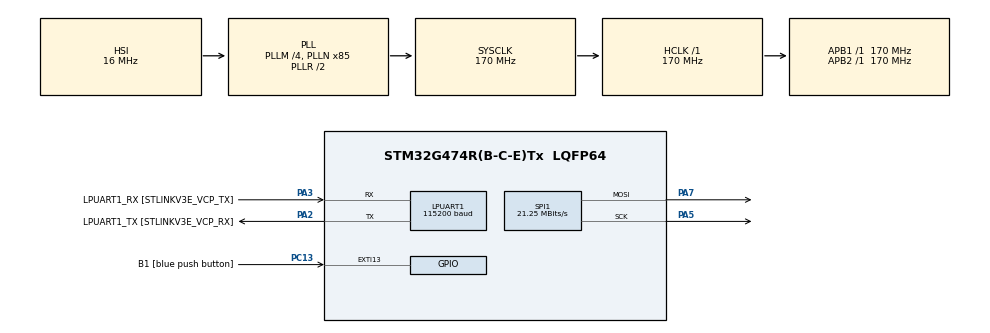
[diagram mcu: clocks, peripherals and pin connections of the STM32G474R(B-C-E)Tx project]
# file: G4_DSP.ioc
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FREERTOS.Tasks01=main,24,64,App_main,Default,NULL,Dynamic,NULL,NULL
FREERTOS.configENABLE_FPU=1
FREERTOS.configMINIMAL_STACK_SIZE=64
LPUART1.BaudRate=115200
LPUART1.WordLength=UART_WORDLENGTH_8B
Mcu.Family=STM32G4
Mcu.Name=STM32G474R(B-C-E)Tx
Mcu.Package=LQFP64
NVIC.EXTI15_10_IRQn=true\:5\:0\:false\:false\:true\:true\:true\:true\:true
NVIC.PriorityGroup=NVIC_PRIORITYGROUP_4
NVIC.TIM6_DAC_IRQn=true\:15\:0\:false\:false\:true\:false\:false\:true\:true
NVIC.TimeBase=TIM6_DAC_IRQn
NVIC.TimeBaseIP=TIM6
PA13.GPIO_Label=T_SWDIO
PA13.Mode=Serial_Wire
PA13.Signal=SYS_JTMS-SWDIO
PA14.GPIO_Label=T_SWCLK
PA14.Mode=Serial_Wire
PA14.Signal=SYS_JTCK-SWCLK
PA2.GPIO_Label=LPUART1_TX [STLINKV3E_VCP_RX]
PA2.Mode=Asynchronous
PA2.Signal=LPUART1_TX
PA3.GPIO_Label=LPUART1_RX [STLINKV3E_VCP_TX]
PA3.Mode=Asynchronous
PA3.Signal=LPUART1_RX
PA5.Mode=TX_Only_Simplex_Unidirect_Master
PA5.Signal=SPI1_SCK
PA7.Mode=TX_Only_Simplex_Unidirect_Master
PA7.Signal=SPI1_MOSI
PB3.GPIO_Label=T_SWO
PB3.Signal=SYS_JTDO-SWO
PC13.GPIO_Label=B1 [blue push button]
PC13.Signal=GPXTI13
PC14-OSC32_IN.Mode=LSE-External-Oscillator
PC14-OSC32_IN.Signal=RCC_OSC32_IN
PC15-OSC32_OUT.Mode=LSE-External-Oscillator
PC15-OSC32_OUT.Signal=RCC_OSC32_OUT
PF0-OSC_IN.Mode=HSE-External-Oscillator
PF0-OSC_IN.Signal=RCC_OSC_IN
PF1-OSC_OUT.Mode=HSE-External-Oscillator
PF1-OSC_OUT.Signal=RCC_OSC_OUT
ProjectManager.HeapSize=0x200
ProjectManager.StackSize=0x400
ProjectManager.TargetToolchain=STM32CubeIDE
RCC.ADC12Freq_Value=170000000
RCC.ADC345Freq_Value=170000000
RCC.AHBFreq_Value=170000000
RCC.APB1Freq_Value=170000000
RCC.APB1TimFreq_Value=170000000
RCC.APB2Freq_Value=170000000
RCC.APB2TimFreq_Value=170000000
RCC.CortexFreq_Value=170000000
RCC.EXTERNAL_CLOCK_VALUE=12288000
RCC.HCLKFreq_Value=170000000
RCC.HSE_VALUE=24000000
RCC.HSI48_VALUE=48000000
RCC.HSI_VALUE=16000000
RCC.PLLM=RCC_PLLM_DIV4
RCC.PLLN=85
RCC.RTCClockSelection=RCC_RTCCLKSOURCE_LSE
RCC.SYSCLKFreq_VALUE=170000000
RCC.SYSCLKSource=RCC_SYSCLKSOURCE_PLLCLK
RCC.USBFreq_Value=170000000
RCC.VCOOutputFreq_Value=340000000
SPI1.BaudRatePrescaler=SPI_BAUDRATEPRESCALER_8
SPI1.CalculateBaudRate=21.25 MBits/s
SPI1.DataSize=SPI_DATASIZE_8BIT
SPI1.Direction=SPI_DIRECTION_2LINES
SPI1.Mode=SPI_MODE_MASTER
SPI1.VirtualType=VM_MASTER
VP_FREERTOS_VS_CMSIS_V2.Mode=CMSIS_V2
VP_SYS_VS_DBSignals.Mode=DisableDeadBatterySignals
VP_SYS_VS_tim6.Mode=TIM6
board=NUCLEO-G474RE

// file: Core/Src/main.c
/* USER CODE BEGIN Header */
/**
  ******************************************************************************
  * @file           : main.c
  * @brief          : Main program body
  ******************************************************************************
  * @attention
  *
  * Copyright (c) 2024 STMicroelectronics.
  * All rights reserved.
  *
  * This software is licensed under terms that can be found in the LICENSE file
  * in the root directory of this software component.
  * If no LICENSE file comes with this software, it is provided AS-IS.
  *
  ******************************************************************************
  */
/* USER CODE END Header */
#include "main.h"
#include "cmsis_os.h"
#include "usart.h"
#include "spi.h"
#include "gpio.h"

/* USER CODE BEGIN Includes */
#include "lcd.h"

extern void FFT_GPIO_Init(void);
/* USER CODE END Includes */

void SystemClock_Config(void);
void MX_FREERTOS_Init(void);

int main(void)
{

  /* MCU Configuration--------------------------------------------------------*/

  /* Reset of all peripherals, Initializes the Flash interface and the Systick. */
  HAL_Init();

  /* Configure the system clock */
  SystemClock_Config();

  /* Initialize all configured peripherals */
  MX_GPIO_Init();
  MX_LPUART1_UART_Init();
  MX_SPI1_Init();
  /* USER CODE BEGIN 2 */
    LCD_Init(WHITE);
    FFT_GPIO_Init();

  /* USER CODE END 2 */

  /* Init scheduler */
  osKernelInitialize();

  /* Call init function for freertos objects (in freertos.c) */
  MX_FREERTOS_Init();

  /* Start scheduler */
  osKernelStart();

  /* We should never get here as control is now taken by the scheduler */
  /* Infinite loop */
  while (1)
  {

  }
}

void SystemClock_Config(void)
{
  RCC_OscInitTypeDef RCC_OscInitStruct = {0};
  RCC_ClkInitTypeDef RCC_ClkInitStruct = {0};

  /** Configure the main internal regulator output voltage
  */
  HAL_PWREx_ControlVoltageScaling(PWR_REGULATOR_VOLTAGE_SCALE1_BOOST);

  /** Initializes the RCC Oscillators according to the specified parameters
  * in the RCC_OscInitTypeDef structure.
  */
  RCC_OscInitStruct.OscillatorType = RCC_OSCILLATORTYPE_HSI;
  RCC_OscInitStruct.HSIState = RCC_HSI_ON;
  RCC_OscInitStruct.HSICalibrationValue = RCC_HSICALIBRATION_DEFAULT;
  RCC_OscInitStruct.PLL.PLLState = RCC_PLL_ON;
  RCC_OscInitStruct.PLL.PLLSource = RCC_PLLSOURCE_HSI;
  RCC_OscInitStruct.PLL.PLLM = RCC_PLLM_DIV4;
  RCC_OscInitStruct.PLL.PLLN = 85;
  RCC_OscInitStruct.PLL.PLLP = RCC_PLLP_DIV2;
  RCC_OscInitStruct.PLL.PLLQ = RCC_PLLQ_DIV2;
  RCC_OscInitStruct.PLL.PLLR = RCC_PLLR_DIV2;
  if (HAL_RCC_OscConfig(&RCC_OscInitStruct) != HAL_OK)
  {
    Error_Handler();
  }

  /** Initializes the CPU, AHB and APB buses clocks
  */
  RCC_ClkInitStruct.ClockType = RCC_CLOCKTYPE_HCLK|RCC_CLOCKTYPE_SYSCLK
                              |RCC_CLOCKTYPE_PCLK1|RCC_CLOCKTYPE_PCLK2;
  RCC_ClkInitStruct.SYSCLKSource = RCC_SYSCLKSOURCE_PLLCLK;
  RCC_ClkInitStruct.AHBCLKDivider = RCC_SYSCLK_DIV1;
  RCC_ClkInitStruct.APB1CLKDivider = RCC_HCLK_DIV1;
  RCC_ClkInitStruct.APB2CLKDivider = RCC_HCLK_DIV1;

  if (HAL_RCC_ClockConfig(&RCC_ClkInitStruct, FLASH_LATENCY_4) != HAL_OK)
  {
    Error_Handler();
  }
}

void HAL_TIM_PeriodElapsedCallback(TIM_HandleTypeDef *htim)
{
  if (htim->Instance == TIM6) {
    HAL_IncTick();
  }
}

void Error_Handler(void)
{
  __disable_irq();
  while (1)
  {
  }
}

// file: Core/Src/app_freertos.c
/* USER CODE BEGIN Header */
/**
  ******************************************************************************
  * File Name          : app_freertos.c
  * Description        : Code for freertos applications
  ******************************************************************************
  * @attention
  *
  * Copyright (c) 2024 STMicroelectronics.
  * All rights reserved.
  *
  * This software is licensed under terms that can be found in the LICENSE file
  * in the root directory of this software component.
  * If no LICENSE file comes with this software, it is provided AS-IS.
  *
  ******************************************************************************
  */
/* USER CODE END Header */

#include "FreeRTOS.h"
#include "task.h"
#include "main.h"
#include "cmsis_os.h"

/* USER CODE BEGIN Includes */
#include "lcd.h"
#include "arm_math.h"
#include "arm_const_structs.h"

/* USER CODE END Includes */

/* USER CODE BEGIN Variables */
#define FFT_LENGTH  1024
float fft_inputbuf[FFT_LENGTH*2];
float fft_outputbuf[FFT_LENGTH];
/* USER CODE END Variables */
/* Definitions for main */
osThreadId_t mainHandle;
const osThreadAttr_t main_attributes = {
        .name = "main",
        .priority = (osPriority_t) osPriorityNormal,
        .stack_size = 64 * 4
};

void App_main(void *argument);

void MX_FREERTOS_Init(void); /* (MISRA C 2004 rule 8.1) */

void MX_FREERTOS_Init(void) {

    /* Create the thread(s) */
    /* creation of main */
    mainHandle = osThreadNew(App_main, NULL, &main_attributes);

}

void App_main(void *argument) {
    /* USER CODE BEGIN App_main */
    LCD_ShowString(30,0,"DSP test",BLACK,WHITE,24,0);
    int i = 0;
    //gennerat signal
    for (i = 0; i < FFT_LENGTH; i++) {
        fft_inputbuf[2 * i] = 100 + 10 * arm_sin_f32(2 * PI * i * 10 / FFT_LENGTH) + 20 * arm_sin_f32(2 * PI * i * 50 / FFT_LENGTH) + 30 * arm_cos_f32(2 * PI * i * 300 / FFT_LENGTH);
        fft_inputbuf[2 * i + 1] = 0;
    }

//    HAL_GPIO_WritePin(GPIOC,GPIO_PIN_0,GPIO_PIN_SET);
//
//    arm_cfft_f32(&arm_cfft_sR_f32_len1024, fft_inputbuf, 0, 1);
//    arm_cmplx_mag_f32(fft_inputbuf, fft_outputbuf, FFT_LENGTH);
//
//    HAL_GPIO_WritePin(GPIOC,GPIO_PIN_0,GPIO_PIN_RESET);

    /* Infinite loop */
    for (;;) {

        HAL_GPIO_WritePin(GPIOC,GPIO_PIN_0,GPIO_PIN_SET);

        arm_cfft_f32(&arm_cfft_sR_f32_len1024, fft_inputbuf, 0, 1);
        arm_cmplx_mag_f32(fft_inputbuf, fft_outputbuf, FFT_LENGTH);

        HAL_GPIO_WritePin(GPIOC,GPIO_PIN_0,GPIO_PIN_RESET);
//        vTaskDelay(1);
    }
    /* USER CODE END App_main */
}
